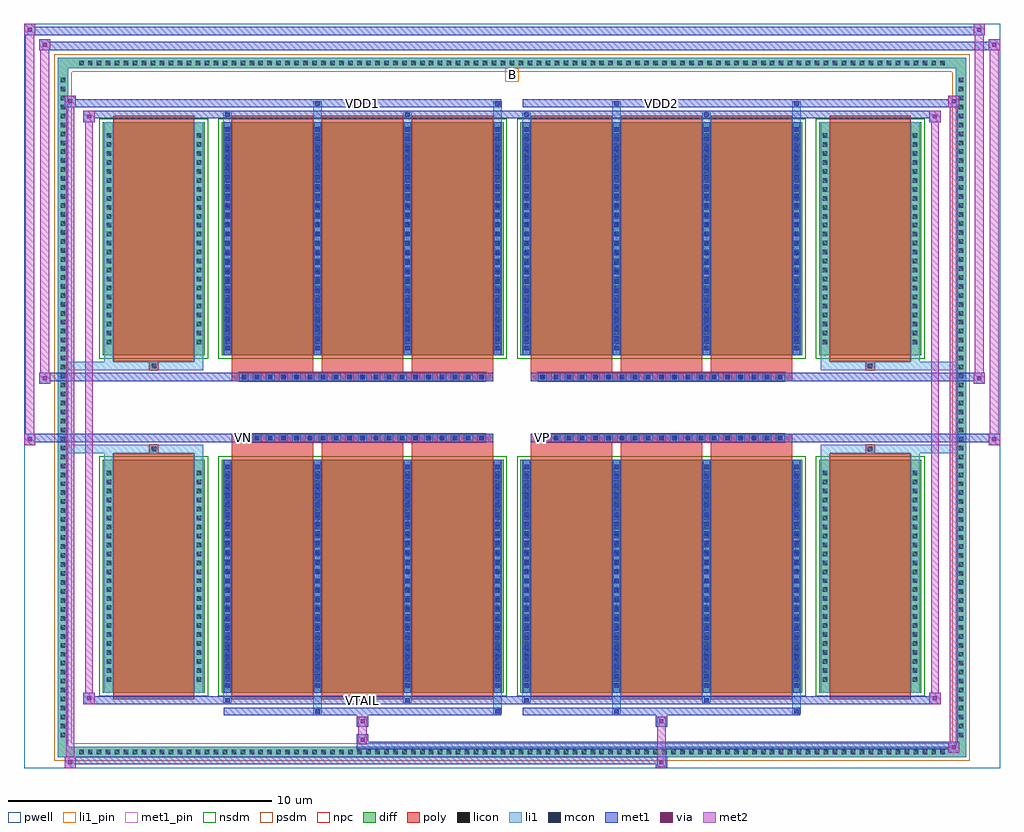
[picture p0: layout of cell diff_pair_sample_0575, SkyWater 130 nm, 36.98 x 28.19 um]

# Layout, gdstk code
import gdstk
lib = gdstk.Library(unit=1e-6, precision=5e-09)
def R(c, l, rs):  # rectangles x0, y0, x1, y1
    for r in rs: c.add(gdstk.rectangle(r[:2], r[2:], *l))
def A(c, l, x, y, w, h, nx, ny, dx, dy):  # array of equal rectangles
    R(c, l, [(x+i*dx, y+j*dy, x+i*dx+w, y+j*dy+h) for i in range(nx) for j in range(ny)])
def P(c, l, *ps):  # polygons
    for p in ps: c.add(gdstk.Polygon(p, *l))
pwell = (64, 44)
diff = (65, 20)
poly = (66, 20)
licon = (66, 44)
li1_pin = (67, 16)
li1 = (67, 20)
mcon = (67, 44)
met1_pin = (68, 16)
met1 = (68, 20)
via = (68, 44)
met2 = (69, 20)
nsdm = (93, 44)
psdm = (94, 20)
npc = (95, 20)

diff_pair_sample_0575 = lib.new_cell('diff_pair_sample_0575')
R(diff_pair_sample_0575, pwell, [(-18.49,-13.66,18.49,14.53), (-15.81,-11.85,-0.01,-0.795), (0.01,-11.85,15.81,-0.795), (-15.81,0.795,-0.01,11.85), (0.01,0.795,15.81,11.85)])
A(diff_pair_sample_0575, diff, -16.525, -13.26, 0.41, 0.41, 97, 2, 0.34, 26.11)
A(diff_pair_sample_0575, diff, -17.22, -12.615, 0.41, 0.41, 1, 74, 0, 0.34)
A(diff_pair_sample_0575, diff, 16.81, -12.615, 0.41, 0.41, 1, 74, 0, 0.34)
R(diff_pair_sample_0575, diff, [(-16.525,-13.26,16.525,-12.85), (-17.22,-12.615,-16.81,12.615), (16.81,-12.615,17.22,12.615), (-15.5,-10.805,-11.64,-1.985), (-11,-10.805,-0.32,-1.985), (0.32,-10.805,11,-1.985), (11.64,-10.805,15.5,-1.985), (-15.5,1.985,-11.64,10.805), (-11,1.985,-0.32,10.805), (0.32,1.985,11,10.805), (11.64,1.985,15.5,10.805), (-16.525,12.85,16.525,13.26)])
P(diff_pair_sample_0575, diff, [(17.22,13.26),(-17.22,13.26),(-17.22,-12.85),(-16.81,-12.85),(-16.81,12.85),(16.81,12.85),(16.81,-12.85),(-16.81,-12.85),(-17.22,-12.85),(-17.22,-13.26),(17.22,-13.26)])
A(diff_pair_sample_0575, poly, -10.61, -11.055, 3.08, 9.32, 3, 2, 3.41, 12.79)
A(diff_pair_sample_0575, poly, 0.71, -11.055, 3.08, 9.32, 3, 2, 3.41, 12.79)
A(diff_pair_sample_0575, poly, -10.61, -1.735, 3.08, 0.41, 3, 2, 3.41, 3.06)
A(diff_pair_sample_0575, poly, 0.71, -1.735, 3.08, 0.41, 3, 2, 3.41, 3.06)
A(diff_pair_sample_0575, poly, -10.325, -1.325, 0.33, 0.33, 19, 2, 0.5, 2.32)
A(diff_pair_sample_0575, poly, 0.995, -1.325, 0.33, 0.33, 19, 2, 0.5, 2.32)
R(diff_pair_sample_0575, poly, [(-15.11,-11.055,-12.03,-1.735), (12.03,-11.055,15.11,-1.735), (-13.735,-1.735,-13.405,-1.405), (-13.735,-1.735,-13.405,-1.405), (13.405,-1.735,13.735,-1.405), (13.405,-1.735,13.735,-1.405), (-10.61,-1.325,-0.71,-0.995), (0.71,-1.325,10.61,-0.995), (-10.61,0.995,-0.71,1.325), (0.71,0.995,10.61,1.325), (-13.735,1.405,-13.405,1.735), (-13.735,1.405,-13.405,1.735), (13.405,1.405,13.735,1.735), (13.405,1.405,13.735,1.735), (-15.11,1.735,-12.03,11.055), (12.03,1.735,15.11,11.055)])
A(diff_pair_sample_0575, licon, -16.405, -13.14, 0.17, 0.17, 97, 2, 0.34, 26.11)
A(diff_pair_sample_0575, licon, -17.1, -12.495, 0.17, 0.17, 1, 74, 0, 0.34)
A(diff_pair_sample_0575, licon, 16.93, -12.495, 0.17, 0.17, 1, 74, 0, 0.34)
A(diff_pair_sample_0575, licon, -15.36, -10.39, 0.17, 0.17, 1, 24, 0, 0.34)
A(diff_pair_sample_0575, licon, -11.95, -10.39, 0.17, 0.17, 1, 24, 0, 0.34)
A(diff_pair_sample_0575, licon, -10.86, -10.39, 0.17, 0.17, 4, 24, 3.41, 0.34)
A(diff_pair_sample_0575, licon, 0.46, -10.39, 0.17, 0.17, 4, 24, 3.41, 0.34)
A(diff_pair_sample_0575, licon, 11.78, -10.39, 0.17, 0.17, 1, 24, 0, 0.34)
A(diff_pair_sample_0575, licon, 15.19, -10.39, 0.17, 0.17, 1, 24, 0, 0.34)
A(diff_pair_sample_0575, licon, -10.245, -1.245, 0.17, 0.17, 19, 2, 0.5, 2.32)
A(diff_pair_sample_0575, licon, 1.075, -1.245, 0.17, 0.17, 19, 2, 0.5, 2.32)
A(diff_pair_sample_0575, licon, -15.36, 2.4, 0.17, 0.17, 1, 24, 0, 0.34)
A(diff_pair_sample_0575, licon, -11.95, 2.4, 0.17, 0.17, 1, 24, 0, 0.34)
A(diff_pair_sample_0575, licon, -10.86, 2.4, 0.17, 0.17, 4, 24, 3.41, 0.34)
A(diff_pair_sample_0575, licon, 0.46, 2.4, 0.17, 0.17, 4, 24, 3.41, 0.34)
A(diff_pair_sample_0575, licon, 11.78, 2.4, 0.17, 0.17, 1, 24, 0, 0.34)
A(diff_pair_sample_0575, licon, 15.19, 2.4, 0.17, 0.17, 1, 24, 0, 0.34)
R(diff_pair_sample_0575, licon, [(-13.655,-1.655,-13.485,-1.485), (13.485,-1.655,13.655,-1.485), (-13.655,1.485,-13.485,1.655), (13.485,1.485,13.655,1.655)])
R(diff_pair_sample_0575, li1_pin, [(-0.25,12.35,0.25,12.85)])
A(diff_pair_sample_0575, li1, -16.485, -13.22, 0.33, 0.33, 97, 2, 0.34, 26.11)
A(diff_pair_sample_0575, li1, -17.18, -12.575, 0.33, 0.33, 1, 74, 0, 0.34)
A(diff_pair_sample_0575, li1, 16.85, -12.575, 0.33, 0.33, 1, 74, 0, 0.34)
A(diff_pair_sample_0575, li1, -10.94, -10.805, 0.33, 8.82, 4, 2, 3.41, 12.79)
A(diff_pair_sample_0575, li1, 0.38, -10.805, 0.33, 8.82, 4, 2, 3.41, 12.79)
A(diff_pair_sample_0575, li1, -10.86, -10.62, 0.17, 0.17, 4, 24, 3.41, 0.36)
A(diff_pair_sample_0575, li1, -10.86, -10.62, 0.17, 8.45, 4, 2, 3.41, 12.79)
A(diff_pair_sample_0575, li1, 0.46, -10.62, 0.17, 0.17, 4, 24, 3.41, 0.36)
A(diff_pair_sample_0575, li1, 0.46, -10.62, 0.17, 8.45, 4, 2, 3.41, 12.79)
A(diff_pair_sample_0575, li1, -15.44, -10.47, 0.33, 0.33, 1, 24, 0, 0.34)
A(diff_pair_sample_0575, li1, -12.03, -10.47, 0.33, 0.33, 1, 24, 0, 0.34)
A(diff_pair_sample_0575, li1, -10.94, -10.47, 0.33, 0.33, 4, 24, 3.41, 0.34)
A(diff_pair_sample_0575, li1, 0.38, -10.47, 0.33, 0.33, 4, 24, 3.41, 0.34)
A(diff_pair_sample_0575, li1, 11.7, -10.47, 0.33, 0.33, 1, 24, 0, 0.34)
A(diff_pair_sample_0575, li1, 15.11, -10.47, 0.33, 0.33, 1, 24, 0, 0.34)
A(diff_pair_sample_0575, li1, -10.325, -1.325, 0.33, 0.33, 19, 2, 0.5, 2.32)
A(diff_pair_sample_0575, li1, 0.995, -1.325, 0.33, 0.33, 19, 2, 0.5, 2.32)
A(diff_pair_sample_0575, li1, -10.86, 2.17, 0.17, 0.17, 4, 24, 3.41, 0.36)
A(diff_pair_sample_0575, li1, 0.46, 2.17, 0.17, 0.17, 4, 24, 3.41, 0.36)
A(diff_pair_sample_0575, li1, -15.44, 2.32, 0.33, 0.33, 1, 24, 0, 0.34)
A(diff_pair_sample_0575, li1, -12.03, 2.32, 0.33, 0.33, 1, 24, 0, 0.34)
A(diff_pair_sample_0575, li1, -10.94, 2.32, 0.33, 0.33, 4, 24, 3.41, 0.34)
A(diff_pair_sample_0575, li1, 0.38, 2.32, 0.33, 0.33, 4, 24, 3.41, 0.34)
A(diff_pair_sample_0575, li1, 11.7, 2.32, 0.33, 0.33, 1, 24, 0, 0.34)
A(diff_pair_sample_0575, li1, 15.11, 2.32, 0.33, 0.33, 1, 24, 0, 0.34)
R(diff_pair_sample_0575, li1, [(-17.22,-13.26,-16.81,-12.85), (-17.22,-13.26,-16.81,-12.85), (-16.81,-13.26,16.81,-12.85), (16.81,-13.26,17.22,-12.85), (16.81,-13.26,17.22,-12.85), (-17.22,-12.85,-16.81,12.85), (16.81,-12.85,17.22,12.85), (-7.53,-11.61,-7.2,-10.805), (-7.45,-11.61,-7.28,-11.44), (-0.71,-11.61,-0.38,-10.805), (-0.63,-11.61,-0.46,-11.44), (3.79,-11.61,4.12,-10.805), (3.87,-11.61,4.04,-11.44), (10.61,-11.61,10.94,-10.805), (10.69,-11.61,10.86,-11.44), (-10.94,-11.18,-10.61,-10.805), (-10.86,-11.18,-10.69,-11.01), (-4.12,-11.18,-3.79,-10.805), (-4.04,-11.18,-3.87,-11.01), (0.38,-11.18,0.71,-10.805), (0.46,-11.18,0.63,-11.01), (7.2,-11.18,7.53,-10.805), (7.28,-11.18,7.45,-11.01), (-15.44,-10.805,-15.11,-1.985), (-12.03,-10.805,-11.7,-1.985), (11.7,-10.805,12.03,-1.985), (15.11,-10.805,15.44,-1.985), (-15.44,-1.985,-15.11,-1.405), (-12.03,-1.985,-11.7,-1.405), (11.7,-1.985,12.03,-1.405), (15.11,-1.985,15.44,-1.405), (-17.22,-1.735,-13.735,-1.405), (-15.44,-1.735,-13.735,-1.405), (-13.735,-1.735,-13.405,-1.405), (-13.405,-1.735,-11.7,-1.405), (11.7,-1.735,13.405,-1.405), (13.405,-1.735,13.735,-1.405), (13.405,-1.735,17.22,-1.405), (13.735,-1.735,15.44,-1.405), (-17.22,1.405,-13.735,1.735), (-15.44,1.405,-13.735,1.735), (-15.44,1.405,-15.11,1.985), (-13.735,1.405,-13.405,1.735), (-13.405,1.405,-11.7,1.735), (-12.03,1.405,-11.7,1.985), (11.7,1.405,13.405,1.735), (11.7,1.405,12.03,1.985), (13.405,1.405,13.735,1.735), (13.405,1.405,17.22,1.735), (13.735,1.405,15.44,1.735), (15.11,1.405,15.44,1.985), (-15.44,1.985,-15.11,10.805), (-12.03,1.985,-11.7,10.805), (11.7,1.985,12.03,10.805), (15.11,1.985,15.44,10.805), (-10.94,10.805,-10.61,11.18), (-7.53,10.805,-7.2,11.61), (-4.12,10.805,-3.79,11.18), (-0.71,10.805,-0.38,11.61), (0.38,10.805,0.71,11.18), (3.79,10.805,4.12,11.61), (7.2,10.805,7.53,11.18), (10.61,10.805,10.94,11.61), (-10.86,11.01,-10.69,11.18), (-4.04,11.01,-3.87,11.18), (0.46,11.01,0.63,11.18), (7.28,11.01,7.45,11.18), (-7.45,11.44,-7.28,11.61), (-0.63,11.44,-0.46,11.61), (3.87,11.44,4.04,11.61), (10.69,11.44,10.86,11.61), (-17.22,12.85,-16.81,13.26), (-17.22,12.85,-16.81,13.26), (-16.81,12.85,16.81,13.26), (16.81,12.85,17.22,13.26), (16.81,12.85,17.22,13.26)])
A(diff_pair_sample_0575, mcon, -10.86, -10.62, 0.17, 0.17, 4, 24, 3.41, 0.36)
A(diff_pair_sample_0575, mcon, 0.46, -10.62, 0.17, 0.17, 4, 24, 3.41, 0.36)
A(diff_pair_sample_0575, mcon, -10.245, -1.245, 0.17, 0.17, 19, 2, 0.5, 2.32)
A(diff_pair_sample_0575, mcon, 1.075, -1.245, 0.17, 0.17, 19, 2, 0.5, 2.32)
A(diff_pair_sample_0575, mcon, -10.86, 2.17, 0.17, 0.17, 4, 24, 3.41, 0.36)
A(diff_pair_sample_0575, mcon, 0.46, 2.17, 0.17, 0.17, 4, 24, 3.41, 0.36)
R(diff_pair_sample_0575, mcon, [(-7.45,-11.61,-7.28,-11.44), (-0.63,-11.61,-0.46,-11.44), (3.87,-11.61,4.04,-11.44), (10.69,-11.61,10.86,-11.44), (-10.86,-11.18,-10.69,-11.01), (-4.04,-11.18,-3.87,-11.01), (0.46,-11.18,0.63,-11.01), (7.28,-11.18,7.45,-11.01), (-10.86,11.01,-10.69,11.18), (-4.04,11.01,-3.87,11.18), (0.46,11.01,0.63,11.18), (7.28,11.01,7.45,11.18), (-7.45,11.44,-7.28,11.61), (-0.63,11.44,-0.46,11.61), (3.87,11.44,4.04,11.61), (10.69,11.44,10.86,11.61)])
R(diff_pair_sample_0575, met1_pin, [(-5.795,-11.22,-5.525,-10.95), (-10.295,-1.285,-10.025,-1.015), (1.025,-1.285,1.295,-1.015), (-5.795,11.4,-5.525,11.67), (5.525,11.4,5.795,11.67)])
A(diff_pair_sample_0575, met1, -10.92, -10.805, 0.29, 8.82, 4, 2, 3.41, 12.79)
A(diff_pair_sample_0575, met1, 0.4, -10.805, 0.29, 8.82, 4, 2, 3.41, 12.79)
A(diff_pair_sample_0575, met1, -10.92, -10.68, 0.29, 0.29, 4, 24, 3.41, 0.36)
A(diff_pair_sample_0575, met1, 0.4, -10.68, 0.29, 0.29, 4, 24, 3.41, 0.36)
A(diff_pair_sample_0575, met1, -10.305, -1.305, 0.29, 0.29, 19, 2, 0.5, 2.32)
A(diff_pair_sample_0575, met1, 1.015, -1.305, 0.29, 0.29, 19, 2, 0.5, 2.32)
A(diff_pair_sample_0575, met1, -10.92, 2.11, 0.29, 0.29, 4, 24, 3.41, 0.36)
A(diff_pair_sample_0575, met1, 0.4, 2.11, 0.29, 0.29, 4, 24, 3.41, 0.36)
R(diff_pair_sample_0575, met1, [(-16.95,-13.66,-16.52,-13.23), (5.445,-13.66,5.875,-13.23), (-16.95,-13.52,5.875,-13.23), (16.52,-13.09,16.95,-12.66), (-5.875,-12.95,16.95,-12.66), (-5.875,-12.81,-5.445,-12.38), (-5.875,-12.1,-5.445,-11.67), (5.445,-12.1,5.875,-11.67), (-10.92,-11.67,-0.4,-11.38), (-7.51,-11.67,-7.22,-11.38), (-0.69,-11.67,-0.4,-11.38), (0.4,-11.67,10.92,-11.38), (3.81,-11.67,4.1,-11.38), (10.63,-11.67,10.92,-11.38), (-16.24,-11.24,-15.81,-10.81), (-16.24,-11.24,-10.92,-10.95), (-10.92,-11.24,-10.63,-10.95), (-10.92,-11.24,-0.4,-10.95), (-4.1,-11.24,-3.81,-10.95), (-0.4,-11.24,0.4,-10.95), (0.4,-11.24,0.69,-10.95), (0.4,-11.24,10.92,-10.95), (7.22,-11.24,7.51,-10.95), (10.92,-11.24,16.24,-10.95), (15.81,-11.24,16.24,-10.81), (-18.49,-1.425,-18.06,-0.995), (18.06,-1.425,18.49,-0.995), (-18.49,-1.325,-0.71,-0.995), (-10.61,-1.325,-0.71,-0.995), (0.71,-1.325,10.61,-0.995), (0.71,-1.325,18.49,-0.995), (-17.92,0.895,-17.49,1.325), (17.49,0.895,17.92,1.325), (-17.92,0.995,-10.61,1.325), (-10.61,0.995,-0.71,1.325), (0.71,0.995,10.61,1.325), (10.61,0.995,17.92,1.325), (-16.24,10.81,-15.81,11.24), (15.81,10.81,16.24,11.24), (-16.24,10.95,-10.92,11.24), (-10.92,10.95,-10.63,11.24), (-10.92,10.95,-0.4,11.24), (-4.1,10.95,-3.81,11.24), (-0.4,10.95,0.4,11.24), (0.4,10.95,0.69,11.24), (0.4,10.95,10.92,11.24), (7.22,10.95,7.51,11.24), (10.92,10.95,16.24,11.24), (-16.95,11.38,-16.52,11.81), (-16.95,11.38,-10.92,11.67), (-10.92,11.38,-0.4,11.67), (-7.51,11.38,-7.22,11.67), (-0.69,11.38,-0.4,11.67), (0.4,11.38,10.92,11.67), (3.81,11.38,4.1,11.67), (10.63,11.38,10.92,11.67), (10.92,11.38,16.95,11.67), (16.52,11.38,16.95,11.81), (-17.92,13.53,-17.49,13.96), (-17.92,13.53,-15.81,13.86), (-15.81,13.53,15.81,13.86), (15.81,13.53,18.49,13.86), (18.06,13.53,18.49,13.96), (-18.49,14.1,-18.06,14.53), (-18.49,14.1,-15.81,14.43), (-15.81,14.1,15.81,14.43), (15.81,14.1,17.92,14.43), (17.49,14.1,17.92,14.53)])
R(diff_pair_sample_0575, via, [(-16.81,-13.52,-16.66,-13.37), (5.585,-13.52,5.735,-13.37), (16.66,-12.95,16.81,-12.8), (-5.735,-12.67,-5.585,-12.52), (-5.735,-11.96,-5.585,-11.81), (5.585,-11.96,5.735,-11.81), (-16.1,-11.1,-15.95,-10.95), (15.95,-11.1,16.1,-10.95), (-18.35,-1.285,-18.2,-1.135), (18.2,-1.285,18.35,-1.135), (-17.78,1.035,-17.63,1.185), (17.63,1.035,17.78,1.185), (-16.1,10.95,-15.95,11.1), (15.95,10.95,16.1,11.1), (-16.81,11.52,-16.66,11.67), (16.66,11.52,16.81,11.67), (-17.78,13.67,-17.63,13.82), (18.2,13.67,18.35,13.82), (-18.35,14.24,-18.2,14.39), (17.63,14.24,17.78,14.39)])
R(diff_pair_sample_0575, met2, [(-16.95,-13.66,-16.52,-13.23), (-16.88,-13.66,-16.59,11.81), (-16.59,-13.66,-16.52,-13.23), (-16.9,-13.61,-16.57,-13.28), (5.495,-13.61,5.825,-13.28), (5.495,-13.28,5.825,-12.05), (16.52,-13.09,16.95,-12.66), (16.59,-13.09,16.88,11.81), (16.88,-13.09,16.95,-12.66), (16.57,-13.04,16.9,-12.71), (-5.825,-12.76,-5.495,-12.43), (-5.825,-12.43,-5.495,-12.05), (-5.825,-12.05,-5.495,-11.72), (5.495,-12.05,5.825,-11.72), (-16.24,-11.24,-15.81,-10.81), (-16.17,-11.24,-15.88,11.24), (-15.88,-11.24,-15.81,-10.81), (15.81,-11.24,16.24,-10.81), (15.88,-11.24,16.17,11.24), (16.17,-11.24,16.24,-10.81), (-16.19,-11.19,-15.86,-10.86), (15.86,-11.19,16.19,-10.86), (-18.49,-1.425,-18.06,-0.995), (-18.44,-1.425,-18.11,14.53), (-18.11,-1.425,-18.06,-0.995), (18.06,-1.425,18.49,-0.995), (18.11,-1.425,18.44,13.96), (18.44,-1.425,18.49,-0.995), (-18.44,-1.375,-18.11,-1.045), (18.11,-1.375,18.44,-1.045), (-17.92,0.895,-17.49,1.325), (-17.87,0.895,-17.54,13.96), (-17.54,0.895,-17.49,1.325), (17.49,0.895,17.92,1.325), (17.54,0.895,17.87,14.53), (17.87,0.895,17.92,1.325), (-17.87,0.945,-17.54,1.275), (17.54,0.945,17.87,1.275), (-16.24,10.81,-15.81,11.24), (-15.88,10.81,-15.81,11.24), (15.81,10.81,16.24,11.24), (16.17,10.81,16.24,11.24), (-16.19,10.86,-15.86,11.19), (15.86,10.86,16.19,11.19), (-16.95,11.38,-16.52,11.81), (-16.59,11.38,-16.52,11.81), (16.52,11.38,16.95,11.81), (16.88,11.38,16.95,11.81), (-16.9,11.43,-16.57,11.76), (16.57,11.43,16.9,11.76), (-17.92,13.53,-17.49,13.96), (-17.54,13.53,-17.49,13.96), (18.06,13.53,18.49,13.96), (18.44,13.53,18.49,13.96), (-17.87,13.58,-17.54,13.91), (18.11,13.58,18.44,13.91), (-18.49,14.1,-18.06,14.53), (-18.11,14.1,-18.06,14.53), (17.49,14.1,17.92,14.53), (17.87,14.1,17.92,14.53), (-18.44,14.15,-18.11,14.48), (17.54,14.15,17.87,14.48)])
R(diff_pair_sample_0575, nsdm, [(-15.63,-10.935,-11.51,-1.855), (-11.13,-10.935,-0.19,-1.855), (0.19,-10.935,11.13,-1.855), (11.51,-10.935,15.63,-1.855), (-15.63,1.855,-11.51,10.935), (-11.13,1.855,-0.19,10.935), (0.19,1.855,11.13,10.935), (11.51,1.855,15.63,10.935)])
P(diff_pair_sample_0575, psdm, [(17.35,13.39),(-17.35,13.39),(-17.35,-12.72),(-16.68,-12.72),(-16.68,12.72),(16.68,12.72),(16.68,-12.72),(-16.68,-12.72),(-17.35,-12.72),(-17.35,-13.39),(17.35,-13.39)])
A(diff_pair_sample_0575, npc, -10.345, -1.345, 0.37, 0.37, 19, 2, 0.5, 2.32)
A(diff_pair_sample_0575, npc, 0.975, -1.345, 0.37, 0.37, 19, 2, 0.5, 2.32)
R(diff_pair_sample_0575, npc, [(-13.755,-1.755,-13.385,-1.385), (13.385,-1.755,13.755,-1.385), (-10.345,-1.345,-9.475,-0.975), (-10.345,-1.345,-9.475,-0.975), (-9.845,-1.345,-8.975,-0.975), (-9.845,-1.345,-8.975,-0.975), (-9.345,-1.345,-8.475,-0.975), (-9.345,-1.345,-8.475,-0.975), (-8.845,-1.345,-7.975,-0.975), (-8.845,-1.345,-7.975,-0.975), (-8.345,-1.345,-7.475,-0.975), (-8.345,-1.345,-7.475,-0.975), (-7.845,-1.345,-6.975,-0.975), (-7.845,-1.345,-6.975,-0.975), (-7.345,-1.345,-6.475,-0.975), (-7.345,-1.345,-6.475,-0.975), (-6.845,-1.345,-5.975,-0.975), (-6.845,-1.345,-5.975,-0.975), (-6.345,-1.345,-5.475,-0.975), (-6.345,-1.345,-5.475,-0.975), (-5.845,-1.345,-4.975,-0.975), (-5.845,-1.345,-4.975,-0.975), (-5.345,-1.345,-4.475,-0.975), (-5.345,-1.345,-4.475,-0.975), (-4.845,-1.345,-3.975,-0.975), (-4.845,-1.345,-3.975,-0.975), (-4.345,-1.345,-3.475,-0.975), (-4.345,-1.345,-3.475,-0.975), (-3.845,-1.345,-2.975,-0.975), (-3.845,-1.345,-2.975,-0.975), (-3.345,-1.345,-2.475,-0.975), (-3.345,-1.345,-2.475,-0.975), (-2.845,-1.345,-1.975,-0.975), (-2.845,-1.345,-1.975,-0.975), (-2.345,-1.345,-1.475,-0.975), (-2.345,-1.345,-1.475,-0.975), (-1.845,-1.345,-0.975,-0.975), (-1.845,-1.345,-0.975,-0.975), (0.975,-1.345,1.845,-0.975), (0.975,-1.345,1.845,-0.975), (1.475,-1.345,2.345,-0.975), (1.475,-1.345,2.345,-0.975), (1.975,-1.345,2.845,-0.975), (1.975,-1.345,2.845,-0.975), (2.475,-1.345,3.345,-0.975), (2.475,-1.345,3.345,-0.975), (2.975,-1.345,3.845,-0.975), (2.975,-1.345,3.845,-0.975), (3.475,-1.345,4.345,-0.975), (3.475,-1.345,4.345,-0.975), (3.975,-1.345,4.845,-0.975), (3.975,-1.345,4.845,-0.975), (4.475,-1.345,5.345,-0.975), (4.475,-1.345,5.345,-0.975), (4.975,-1.345,5.845,-0.975), (4.975,-1.345,5.845,-0.975), (5.475,-1.345,6.345,-0.975), (5.475,-1.345,6.345,-0.975), (5.975,-1.345,6.845,-0.975), (5.975,-1.345,6.845,-0.975), (6.475,-1.345,7.345,-0.975), (6.475,-1.345,7.345,-0.975), (6.975,-1.345,7.845,-0.975), (6.975,-1.345,7.845,-0.975), (7.475,-1.345,8.345,-0.975), (7.475,-1.345,8.345,-0.975), (7.975,-1.345,8.845,-0.975), (7.975,-1.345,8.845,-0.975), (8.475,-1.345,9.345,-0.975), (8.475,-1.345,9.345,-0.975), (8.975,-1.345,9.845,-0.975), (8.975,-1.345,9.845,-0.975), (9.475,-1.345,10.345,-0.975), (9.475,-1.345,10.345,-0.975), (-10.345,0.975,-9.475,1.345), (-10.345,0.975,-9.475,1.345), (-9.845,0.975,-8.975,1.345), (-9.845,0.975,-8.975,1.345), (-9.345,0.975,-8.475,1.345), (-9.345,0.975,-8.475,1.345), (-8.845,0.975,-7.975,1.345), (-8.845,0.975,-7.975,1.345), (-8.345,0.975,-7.475,1.345), (-8.345,0.975,-7.475,1.345), (-7.845,0.975,-6.975,1.345), (-7.845,0.975,-6.975,1.345), (-7.345,0.975,-6.475,1.345), (-7.345,0.975,-6.475,1.345), (-6.845,0.975,-5.975,1.345), (-6.845,0.975,-5.975,1.345), (-6.345,0.975,-5.475,1.345), (-6.345,0.975,-5.475,1.345), (-5.845,0.975,-4.975,1.345), (-5.845,0.975,-4.975,1.345), (-5.345,0.975,-4.475,1.345), (-5.345,0.975,-4.475,1.345), (-4.845,0.975,-3.975,1.345), (-4.845,0.975,-3.975,1.345), (-4.345,0.975,-3.475,1.345), (-4.345,0.975,-3.475,1.345), (-3.845,0.975,-2.975,1.345), (-3.845,0.975,-2.975,1.345), (-3.345,0.975,-2.475,1.345), (-3.345,0.975,-2.475,1.345), (-2.845,0.975,-1.975,1.345), (-2.845,0.975,-1.975,1.345), (-2.345,0.975,-1.475,1.345), (-2.345,0.975,-1.475,1.345), (-1.845,0.975,-0.975,1.345), (-1.845,0.975,-0.975,1.345), (0.975,0.975,1.845,1.345), (0.975,0.975,1.845,1.345), (1.475,0.975,2.345,1.345), (1.475,0.975,2.345,1.345), (1.975,0.975,2.845,1.345), (1.975,0.975,2.845,1.345), (2.475,0.975,3.345,1.345), (2.475,0.975,3.345,1.345), (2.975,0.975,3.845,1.345), (2.975,0.975,3.845,1.345), (3.475,0.975,4.345,1.345), (3.475,0.975,4.345,1.345), (3.975,0.975,4.845,1.345), (3.975,0.975,4.845,1.345), (4.475,0.975,5.345,1.345), (4.475,0.975,5.345,1.345), (4.975,0.975,5.845,1.345), (4.975,0.975,5.845,1.345), (5.475,0.975,6.345,1.345), (5.475,0.975,6.345,1.345), (5.975,0.975,6.845,1.345), (5.975,0.975,6.845,1.345), (6.475,0.975,7.345,1.345), (6.475,0.975,7.345,1.345), (6.975,0.975,7.845,1.345), (6.975,0.975,7.845,1.345), (7.475,0.975,8.345,1.345), (7.475,0.975,8.345,1.345), (7.975,0.975,8.845,1.345), (7.975,0.975,8.845,1.345), (8.475,0.975,9.345,1.345), (8.475,0.975,9.345,1.345), (8.975,0.975,9.845,1.345), (8.975,0.975,9.845,1.345), (9.475,0.975,10.345,1.345), (9.475,0.975,10.345,1.345), (-13.755,1.385,-13.385,1.755), (13.385,1.385,13.755,1.755)])
diff_pair_sample_0575.add(gdstk.Label('VTAIL', (-5.66,-11.085), layer=68, texttype=5))
diff_pair_sample_0575.add(gdstk.Label('VN', (-10.16,-1.15), layer=68, texttype=5))
diff_pair_sample_0575.add(gdstk.Label('VP', (1.16,-1.15), layer=68, texttype=5))
diff_pair_sample_0575.add(gdstk.Label('B', (0,12.6), layer=67, texttype=5))
diff_pair_sample_0575.add(gdstk.Label('VDD2', (5.66,11.535), layer=68, texttype=5))
diff_pair_sample_0575.add(gdstk.Label('VDD1', (-5.66,11.535), layer=68, texttype=5))

lib.write_gds('diff_pair_sample_0575.gds')
